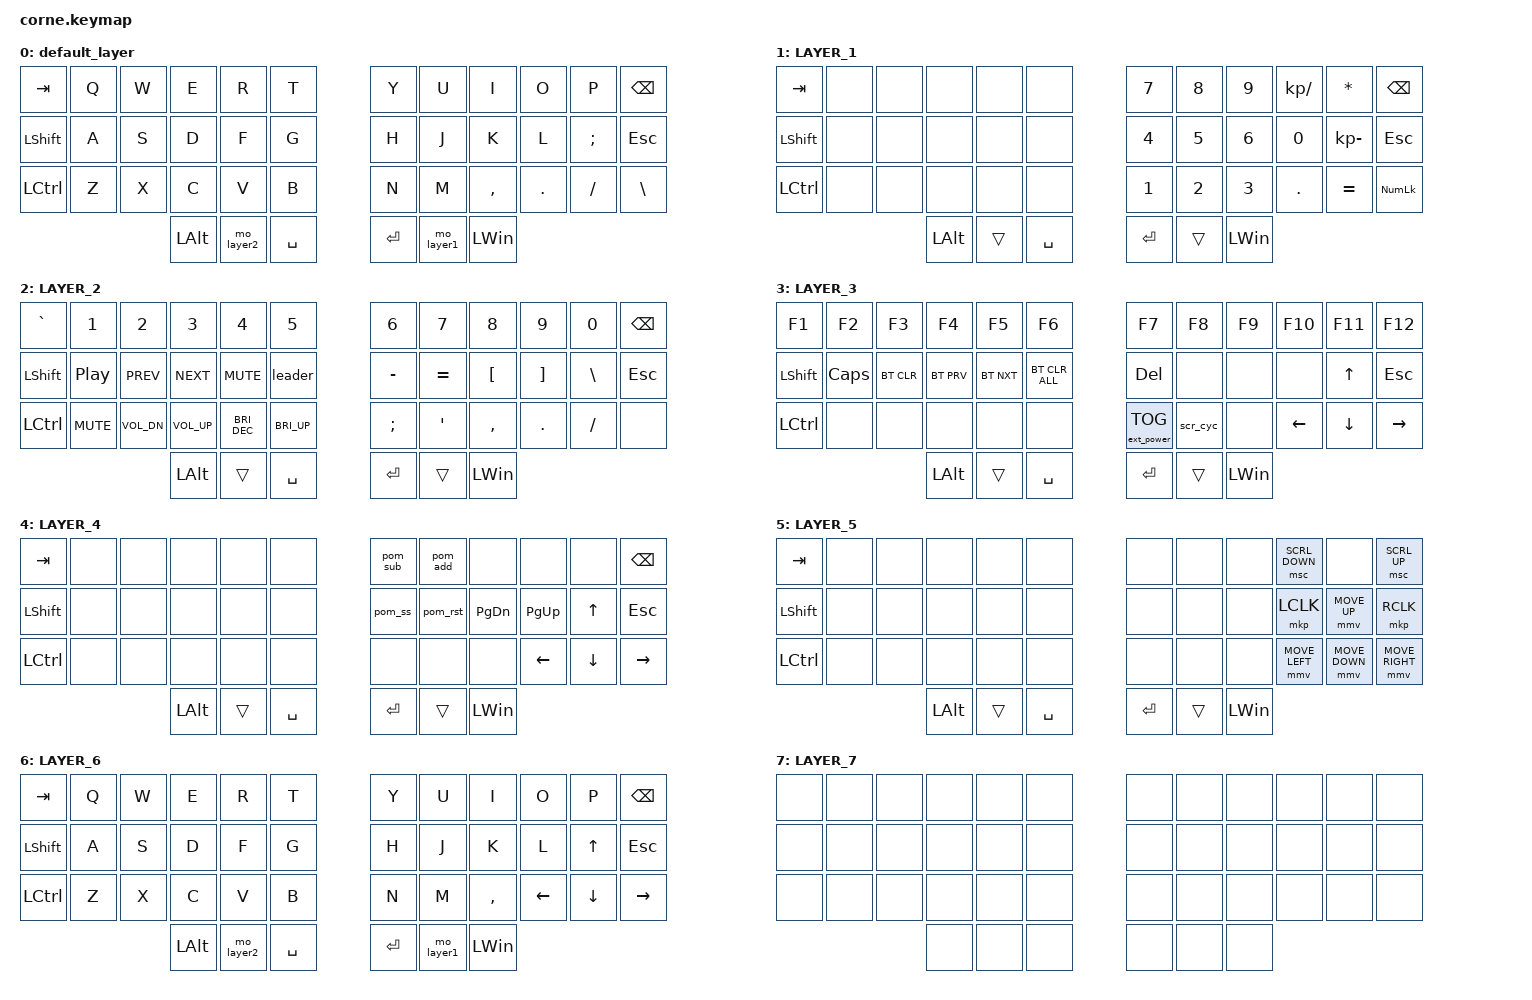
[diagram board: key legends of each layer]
#include <dt-bindings/zmk/kscan_mock.h>
#include <behaviors.dtsi>
#include <dt-bindings/zmk/bt.h>
#include <dt-bindings/zmk/ext_power.h>
#include <dt-bindings/zmk/keys.h>
#include <dt-bindings/zmk/pointing.h>
#include <zmk-helpers/helper.h>
#include "character_map.dtsi"
#include "pomodoro.dtsi"
#include "espanso.dtsi"
#include "leader.dtsi"

/ {
    chosen {
        zmk,charmap = &charmap_us;
    };
    
    combos {
        compatible = "zmk,combos";

        to_layer_0_from_4 {
            bindings = <&to 0>;
            key-positions = <40 41>;
            layers = <4>;
        };

        to_layer_0_from_5 {
            bindings = <&to 0>;
            key-positions = <36 37>;
            layers = <5>;
        };

        to_layer_7 {
            bindings = <&to 7>;
            key-positions = <37 40 36 41>;
        };

        to_layer_0_from_7 {
            bindings = <&to 0>;
            key-positions = <36 37 40 41>;
            layers = <7>;
        };

        to_layer_0_from_6 {
            bindings = <&to 0>;
            key-positions = <40 41>;
            layers = <6>;
        };
    };

    macros {

    };

    behaviors {
        mo_layer1: mo_layer1 {
            compatible = "zmk,behavior-tap-dance";
            label = "MO_LAYER1";
            #binding-cells = <0>;
            bindings = <&mo 1>, <&to 4>, <&to 6>;

            tapping-term-ms = <225>;
        };

        mo_layer2: mo_layer2 {
            compatible = "zmk,behavior-tap-dance";
            label = "MO_LAYER2";
            #binding-cells = <0>;
            bindings = <&mo 2>, <&to 5>;

            tapping-term-ms = <225>;
        };
    };

    keymap {
        compatible = "zmk,keymap";

        default_layer {
            bindings = <
&kp TAB         &kp Q  &kp W  &kp E     &kp R       &kp T        &kp Y    &kp U       &kp I      &kp O       &kp P          &kp BSPC
&kp LEFT_SHIFT  &kp A  &kp S  &kp D     &kp F       &kp G        &kp H    &kp J       &kp K      &kp L       &kp SEMICOLON  &kp ESCAPE
&kp LCTRL       &kp Z  &kp X  &kp C     &kp V       &kp B        &kp N    &kp M       &kp COMMA  &kp PERIOD  &kp SLASH      &kp BACKSLASH
                              &kp LALT  &mo_layer2  &kp SPACE    &kp RET  &mo_layer1  &kp LWIN
            >;
        };

        LAYER_1 {
            bindings = <
&kp TAB         &none  &none  &none     &none   &none        &kp N7        &kp N8        &kp N9        &kp KP_DIVIDE  &kp ASTRK        &kp BACKSPACE
&kp LEFT_SHIFT  &none  &none  &none     &none   &none        &kp NUMBER_4  &kp N5        &kp NUMBER_6  &kp N0         &kp KP_SUBTRACT  &kp ESCAPE
&kp LCTRL       &none  &none  &none     &none   &none        &kp NUMBER_1  &kp NUMBER_2  &kp NUMBER_3  &kp PERIOD     &kp EQUAL        &kp KP_NUM
                              &kp LALT  &trans  &kp SPACE    &kp RET       &trans        &kp LWIN
            >;
        };

        LAYER_2 {
            bindings = <
&kp GRAVE   &kp NUMBER_1      &kp NUMBER_2  &kp NUMBER_3  &kp NUMBER_4   &kp NUMBER_5    &kp NUMBER_6   &kp NUMBER_7  &kp NUMBER_8      &kp NUMBER_9       &kp NUMBER_0   &kp BACKSPACE
&kp LSHIFT  &kp C_PLAY_PAUSE  &kp C_PREV    &kp C_NEXT    &kp C_MUTE     &leader         &kp MINUS      &kp EQUAL     &kp LEFT_BRACKET  &kp RIGHT_BRACKET  &kp BACKSLASH  &kp ESCAPE
&kp LCTRL   &kp C_MUTE        &kp C_VOL_DN  &kp C_VOL_UP  &kp C_BRI_DEC  &kp C_BRI_UP    &kp SEMICOLON  &kp SQT       &kp COMMA         &kp PERIOD         &kp SLASH      &none
                                            &kp LALT      &trans         &kp SPACE       &kp RET        &trans        &kp LWIN
            >;
        };

        LAYER_3 {
            bindings = <
&kp F1      &kp F2        &kp F3      &kp F4        &kp F5      &kp F6            &kp F7             &kp F8    &kp F9    &kp F10         &kp F11         &kp F12
&kp LSHIFT  &kp CAPSLOCK  &bt BT_CLR  &bt BT_PRV    &bt BT_NXT  &bt BT_CLR_ALL    &kp DELETE         &none     &none     &none           &kp UP_ARROW    &kp ESCAPE
&kp LCTRL   &none         &none       &none         &none       &none             &ext_power EP_TOG  &scr_cyc  &none     &kp LEFT_ARROW  &kp DOWN_ARROW  &kp RIGHT_ARROW
                                      &kp LEFT_ALT  &trans      &kp SPACE         &kp ENTER          &trans    &kp LWIN
            >;
        };

        LAYER_4 {
            // Navigation + Pomodoro controls (add/sub auto-switch: work in IDLE, break during break)

            bindings = <
&kp TAB     &none  &none  &none         &none   &none        &pom_sub   &pom_add  &none          &none           &none           &kp BACKSPACE
&kp LSHIFT  &none  &none  &none         &none   &none        &pom_ss    &pom_rst  &kp PAGE_DOWN  &kp PAGE_UP     &kp UP_ARROW    &kp ESCAPE
&kp LCTRL   &none  &none  &none         &none   &none        &none      &none     &none          &kp LEFT_ARROW  &kp DOWN_ARROW  &kp RIGHT_ARROW
                          &kp LEFT_ALT  &trans  &kp SPACE    &kp ENTER  &trans    &kp LWIN
            >;
        };

        LAYER_5 {
            bindings = <
&kp TAB     &none  &none  &none         &none   &none        &none      &none   &none     &msc SCRL_DOWN  &none           &msc SCRL_UP
&kp LSHIFT  &none  &none  &none         &none   &none        &none      &none   &none     &mkp LCLK       &mmv MOVE_UP    &mkp RCLK
&kp LCTRL   &none  &none  &none         &none   &none        &none      &none   &none     &mmv MOVE_LEFT  &mmv MOVE_DOWN  &mmv MOVE_RIGHT
                          &kp LEFT_ALT  &trans  &kp SPACE    &kp ENTER  &trans  &kp LWIN
            >;
        };

        LAYER_6 {
            bindings = <
&kp TAB         &kp Q  &kp W  &kp E     &kp R       &kp T        &kp Y    &kp U       &kp I      &kp O           &kp P           &kp BSPC
&kp LEFT_SHIFT  &kp A  &kp S  &kp D     &kp F       &kp G        &kp H    &kp J       &kp K      &kp L           &kp UP_ARROW    &kp ESCAPE
&kp LCTRL       &kp Z  &kp X  &kp C     &kp V       &kp B        &kp N    &kp M       &kp COMMA  &kp LEFT_ARROW  &kp DOWN_ARROW  &kp RIGHT_ARROW
                              &kp LALT  &mo_layer2  &kp SPACE    &kp RET  &mo_layer1  &kp LWIN
            >;
        };

        LAYER_7 {
            bindings = <
&none           &none  &none  &none     &none        &none       &none     &none       &none      &none          &none           &none
&none           &none  &none  &none     &none        &none       &none     &none       &none      &none          &none           &none
&none           &none  &none  &none     &none        &none       &none     &none       &none      &none          &none           &none
                       &none  &none     &none        &none       &none     &none
            >;
        };
    };

    conditional_layers {
        compatible = "zmk,conditional-layers";

        extra_layer {
            if-layers = <1 2>;
            then-layer = <3>;
        };
    };
};
